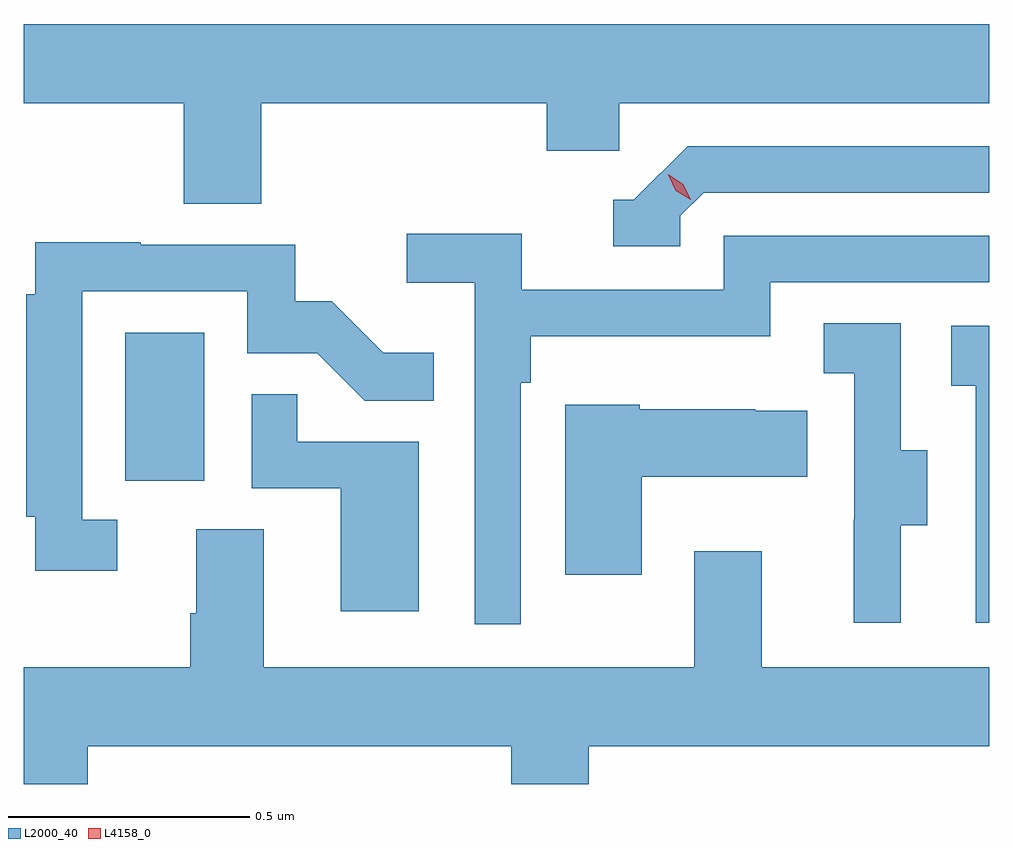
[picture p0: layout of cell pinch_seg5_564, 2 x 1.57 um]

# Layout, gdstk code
import gdstk
lib = gdstk.Library(unit=1e-6, precision=1e-09)
def R(c, l, rs):  # rectangles x0, y0, x1, y1
    for r in rs: c.add(gdstk.rectangle(r[:2], r[2:], *l))
def P(c, l, *ps):  # polygons
    for p in ps: c.add(gdstk.Polygon(p, *l))
L2000_40 = (2000, 40)
L4158_0 = (4158, 0)

pinch_seg5_564 = lib.new_cell('pinch_seg5_564')
R(pinch_seg5_564, L2000_40, [(968.738,838.662,968.902,838.969)])
P(pinch_seg5_564, L2000_40, [(969.02,839.444),(969.611,839.444),(969.611,839.346),(969.762,839.346),(969.762,839.444),(970.528,839.444),(970.528,839.608),(968.528,839.608),(968.528,839.444),(968.86,839.444),(968.86,839.236),(969.02,839.236)],
  [(969.888,839.211),(969.936,839.259),(970.528,839.259),(970.528,839.355),(969.903,839.355),(969.792,839.244),(969.749,839.244),(969.749,839.148),(969.888,839.148)],
  [(969.558,838.865),(969.578,838.865),(969.578,838.961),(970.074,838.961),(970.074,839.073),(970.528,839.073),(970.528,839.169),(969.978,839.169),(969.978,839.058),(969.56,839.058),(969.56,839.174),(969.321,839.174),(969.321,839.072),(969.462,839.072),(969.462,838.365),(969.558,838.365)],
  [(968.722,838.581),(968.649,838.581),(968.649,839.055),(968.991,839.055),(968.991,838.926),(969.136,838.926),(969.234,838.828),(969.377,838.828),(969.377,838.927),(969.273,838.927),(969.166,839.034),(969.09,839.034),(969.09,839.151),(968.771,839.151),(968.771,839.156),(968.552,839.156),(968.552,839.048),(968.533,839.048),(968.533,838.588),(968.552,838.588),(968.552,838.476),(968.722,838.476)],
  [(970.345,838.57),(970.399,838.57),(970.399,838.725),(970.344,838.725),(970.344,838.988),(970.185,838.988),(970.185,838.885),(970.248,838.885),(970.248,838.581),(970.247,838.581),(970.247,838.368),(970.345,838.368)],
  [(970.528,838.983),(970.449,838.983),(970.449,838.859),(970.5,838.859),(970.5,838.368),(970.528,838.368)],
  [(969.346,838.743),(969.095,838.743),(969.095,838.841),(969,838.841),(969,838.647),(969.185,838.647),(969.185,838.392),(969.346,838.392)],
  [(969.808,838.67),(970.151,838.67),(970.151,838.807),(970.043,838.807),(970.043,838.81),(969.804,838.81),(969.804,838.819),(969.65,838.819),(969.65,838.467),(969.808,838.467)],
  [(968.661,838.112),(969.538,838.112),(969.538,838.034),(969.698,838.034),(969.698,838.112),(970.528,838.112),(970.528,838.276),(970.057,838.276),(970.057,838.516),(969.917,838.516),(969.917,838.276),(969.025,838.276),(969.025,838.562),(968.885,838.562),(968.885,838.388),(968.873,838.388),(968.873,838.276),(968.528,838.276),(968.528,838.034),(968.661,838.034)])
P(pinch_seg5_564, L4158_0, [(969.91,839.244),(969.879,839.263),(969.863,839.296),(969.863,839.296),(969.864,839.296),(969.894,839.276),(969.91,839.244),(969.91,839.244)])

lib.write_gds('pinch_seg5_564.gds')
